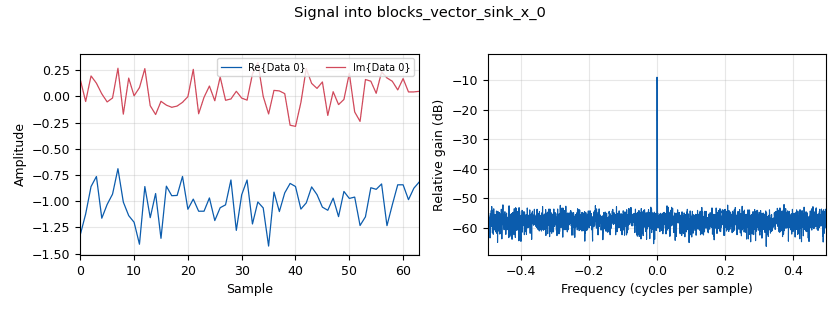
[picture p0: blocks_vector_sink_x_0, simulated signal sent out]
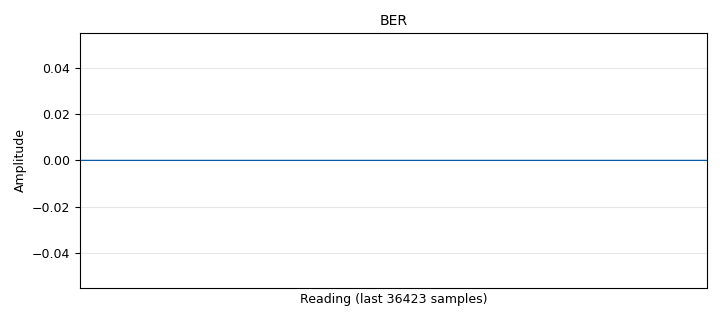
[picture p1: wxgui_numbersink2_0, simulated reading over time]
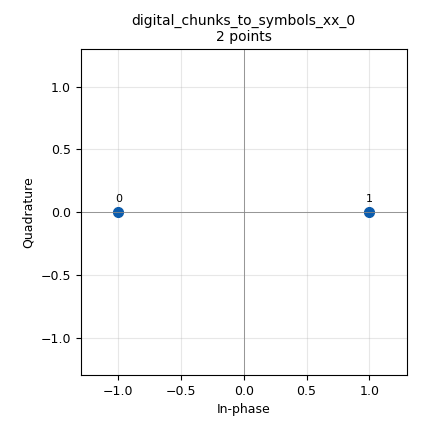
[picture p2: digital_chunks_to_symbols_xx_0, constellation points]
options:
  parameters:
    author: Example
    category: Custom
    copyright: https://wiki.gnuradio.org/index.php/TutorialsSimulations
    description: Adjust EbNo and check the BER
    generate_options: qt_gui
    id: ber_sim
    output_language: python
    title: BER Simulation
  states: {}

blocks:
- name: constellation
  id: variable
  parameters:
    value: (digital.constellation_bpsk(), digital.constellation_qpsk(), digital.constellation_8psk())
  states: {}
- name: constellation_type
  id: variable
  parameters:
    value: '0'
  states: {}
- name: samp_rate
  id: variable
  parameters:
    value: '100000'
  states: {}
- name: EbNo
  id: variable_slider
  parameters:
    converver: float_converter
    label: Energy Bit / Noise Power (dB)
    max: '100'
    min: '-100'
    num_steps: '200'
    style: wx.SL_HORIZONTAL
    value: '10'
  states: {}
- name: analog_noise_source_x_0
  id: analog_noise_source_x
  parameters:
    amp: 1.0/math.sqrt(2.0*constellation[constellation_type].bits_per_symbol()*10**(EbNo/10))
    noise_type: analog.GR_GAUSSIAN
    seed: '42'
    type: complex
  states: {}
- name: blks2_error_rate_0
  id: blks2_error_rate
  parameters:
    bits_per_symbol: constellation[constellation_type].bits_per_symbol()
    type: '''BER'''
    win_size: '10000000'
  states: {}
- name: blocks_add_xx_0
  id: blocks_add_xx
  parameters:
    type: complex
  states: {}
- name: blocks_throttle_0
  id: blocks_throttle
  parameters:
    samples_per_second: samp_rate
    type: byte
  states: {}
- name: blocks_vector_sink_x_0
  id: blocks_vector_sink_x
  parameters:
    type: complex
  states: {}
- name: blocks_vector_source_x_0
  id: blocks_vector_source_x
  parameters:
    repeat: 'True'
    type: byte
    vector: (0, 0, 0)
  states: {}
- name: digital_chunks_to_symbols_xx_0
  id: digital_chunks_to_symbols_xx
  parameters:
    dimension: '1'
    in_type: byte
    out_type: complex
    symbol_table: constellation[constellation_type].points()
  states: {}
- name: digital_constellation_decoder_cb_0
  id: digital_constellation_decoder_cb
  parameters:
    constellation: constellation[constellation_type].base()
  states: {}
- name: import
  id: import
  parameters:
    imports: import math
  states: {}
- name: wxgui_numbersink2_0
  id: wxgui_numbersink2
  parameters:
    average: 'False'
    avg_alpha: '0'
    decimal_places: '4'
    factor: '100'
    grid_pos: 1,0,1,1
    max_value: '1'
    min_value: '0'
    number_rate: '15'
    peak_hold: 'False'
    ref_level: '0'
    samp_rate: samp_rate
    show_gauge: 'False'
    title: BER
    type: float
    units: '%'
  states: {}

connections:
- [analog_noise_source_x_0, '0', blocks_add_xx_0, '1']
- [blks2_error_rate_0, '0', wxgui_numbersink2_0, '0']
- [blocks_add_xx_0, '0', blocks_vector_sink_x_0, '0']
- [blocks_add_xx_0, '0', digital_constellation_decoder_cb_0, '0']
- [blocks_throttle_0, '0', blks2_error_rate_0, '0']
- [blocks_throttle_0, '0', digital_chunks_to_symbols_xx_0, '0']
- [blocks_vector_source_x_0, '0', blocks_throttle_0, '0']
- [digital_chunks_to_symbols_xx_0, '0', blocks_add_xx_0, '0']
- [digital_constellation_decoder_cb_0, '0', blks2_error_rate_0, '1']

metadata:
  file_format: 1
